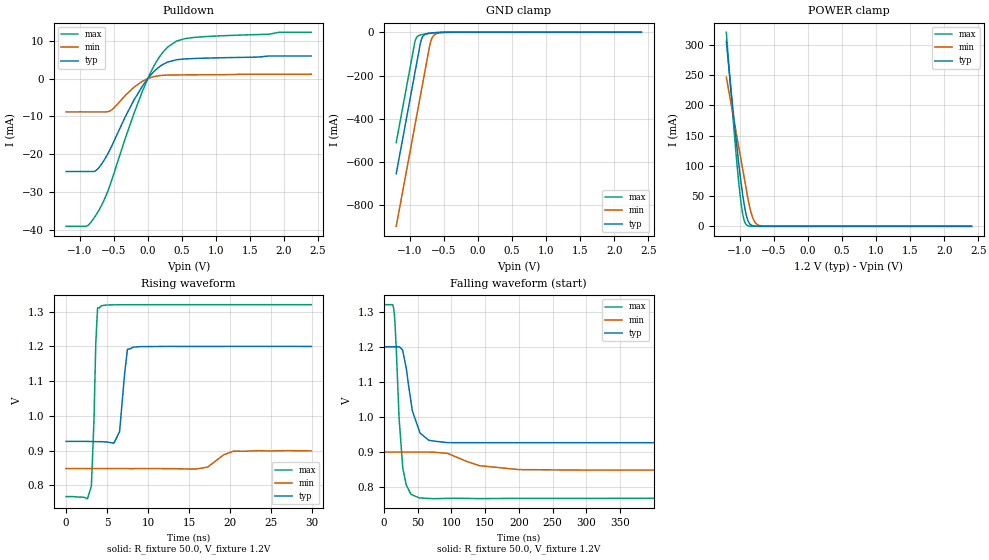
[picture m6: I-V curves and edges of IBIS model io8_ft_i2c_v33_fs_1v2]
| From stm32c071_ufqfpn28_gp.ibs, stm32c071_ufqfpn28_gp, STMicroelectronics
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[Model]   io8_ft_i2c_v33_fs_1v2
Model_type I/O_open_drain
Polarity   Non-Inverting
Enable   Active-Low
| CAP_THRESHOLD on pad IOFT is "UDTCAPC" :
| Rising=30.0% of vddiom   Falling=70.0% of vddiom
| C_comp min and max val. don't necessarily correlate with the min and max pvt
| but are the smallest and greatest pad capacitance found.
| var   typ   min   max
C_comp   1.88240pF  1.74300pF  1.91440pF
|C_comp_pulldown   1.88240pF  1.74300pF  1.91440pF
Vinl = 450.0mV
Vinh = 660.0mV
Vmeas = 600.0mV   | Reference voltage for timing measurements
Cref  = 50.0pF   | Timing specification test load capacitance value
Rref  = 1.0MOhm   | Timing specification test load resistance value
Vref  = 660.0mV   | Timing specification test load voltage
[Model Spec]
| TIME_THRESHOLD on pin ZII2CV12 is "CMOS" :
| Rising=50.0% of vdd   Falling=50.0% of vdd
Vinl 458.70000mV 361.70000mV 499.70000mV
Vinh 728.30000mV 549.30000mV 792.30000mV
| variable   typ   min   max
[Temperature Range] 25.0 125.0 -40.0
| variable   typ   min   max
[Voltage Range] 1.2V 900.0mV 1.32V
| variable   typ   min   max
[POWER Clamp Reference] 1.2V 900.0mV 1.32V
| variable   typ   min   max
[GND Clamp Reference] 0V 0V 0V
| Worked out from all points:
|   slope of the pulldown table from 0 to 0.18 V, typ, clamps not added: 55.2 ohm
|   GND clamp passes 1 mA (typ) near -0.58 V on its own axis
|   POWER clamp passes 1 mA (typ) near -0.81 V on its own axis
|   rising waveform, R_fixture 50.0, V_fixture 1.2V: 20-80 % time 632ps typ, 1.77ns min, 405ps max; typ from 0.927 V to 1.2 V
|   falling waveform, R_fixture 50.0, V_fixture 1.2V: 20-80 % time 16.2ns typ, 51.9ns min, 9.15ns max; typ from 1.2 V to 0.927 V
[POWER Clamp]
-1.2V     306.2mA    246.9mA    321.2mA
-1.09V    180mA      177.2mA    163.4mA
-1.05V    136.9mA    151.8mA    110.9mA
-1.01V    96.55mA    126.4mA    64.02mA
-960mV    52.29mA    94.73mA    20.68mA
-930mV    31.08mA    75.71mA    7.282mA
-900mV    15.67mA    56.69mA    2.025mA
-860mV    4.779mA    33.42mA    315.2uA
-810mV    823.2uA    13.62mA    29.21uA
-760mV    129.2uA    4.248mA    2.687uA
-690mV    9.442uA    651.7uA    95.02nA
2.4V      0A         0A         0A
[GND Clamp]
-1.2V     -654.2mA   -897.4mA   -510.5mA
-920mV    -178.2mA   -421.4mA   -38.03mA
-890mV    -127.2mA   -370.4mA   -19.79mA
-840mV    -43.84mA   -285.4mA   -12.07mA
-820mV    -25.28mA   -251.4mA   -10.64mA
-780mV    -10.73mA   -183.4mA   -8.317mA
-700mV    -3.985mA   -50.14mA   -4.515mA
-670mV    -2.94mA    -24.28mA   -3.345mA
-640mV    -2.115mA   -12.33mA   -2.341mA
-570mV    -791.5uA   -2.935mA   -746.3uA
-440mV    -36.45uA   -184.1uA   -16.55uA
2.4V      342.4pA    36.99nA    239.3pA
| variable   typ   min   max
[Pullup Reference] 1.2V 900.0mV 1.32V
| variable   typ   min   max
[Pulldown Reference] 0V 0V 0V
[Pulldown]
-1.2V     -24.6mA    -8.807mA   -39.12mA
-890mV    -24.6mA    -8.807mA   -39.02mA
-780mV    -24.54mA   -8.807mA   -36.66mA
-710mV    -23.4mA    -8.807mA   -34.61mA
-530mV    -17.87mA   -8.266mA   -26.91mA
-330mV    -10.09mA   -4.455mA   -15.79mA
-80mV     -2.02mA    -710uA     -3.413mA
110mV     2.211mA    605.8uA    3.97mA
290mV     4.374mA    930.5uA    8.331mA
420mV     4.991mA    971.4uA    9.931mA
670mV     5.322mA    1.008mA    10.89mA
2.4V      5.995mA    1.165mA    12.27mA
[Ramp]
dV/dt_r 163.81302mV/632.28144ps 30.52984mV/1.76513ns 331.19429mV/402.85031ps
dV/dt_f 163.90437mV/16.15106ns 30.82035mV/43.02418ns 330.87519mV/9.14778ns
R_load = 50.0
| Removed startup time: 0s 0s 0s  .
| Removed end time: 29.875ns.
[Rising Waveform]
R_fixture   = 50.0
V_fixture   = 1.2V
V_fixture_min = 900.0mV
V_fixture_max = 1.32V
0s        926.8mV    848.6mV    768mV
2.6ns     926.7mV    848.6mV    762mV
3.075ns   926.4mV    848.6mV    797.7mV
3.4ns     926.2mV    848.6mV    987.9mV
3.625ns   926.1mV    848.6mV    1.212V
3.85ns    926mV      848.6mV    1.311V
5.825ns   921.5mV    848.5mV    1.32V
6.5ns     953.6mV    848.5mV    1.32V
7.475ns   1.192V     848.5mV    1.32V
29.88ns   1.2V       899.5mV    1.32V
| Removed startup time: 0s 0s 0s  .
| Removed end time: 899.875ns.
[Falling Waveform]
R_fixture   = 50.0
V_fixture   = 1.2V
V_fixture_min = 900.0mV
V_fixture_max = 1.32V
0s        1.2V       900mV      1.32V
13.05ns   1.2V       900mV      1.32V
15.4ns    1.2V       900mV      1.293V
22.48ns   1.2V       900mV      995.6mV
27.95ns   1.188V     900mV      853.9mV
42.03ns   1.018V     900mV      778.3mV
51.98ns   962.6mV    900mV      769.5mV
73.35ns   931.6mV    899.8mV    767.3mV
200ns     926.9mV    850.2mV    768.2mV
899.9ns   926.8mV    848.6mV    768.5mV
